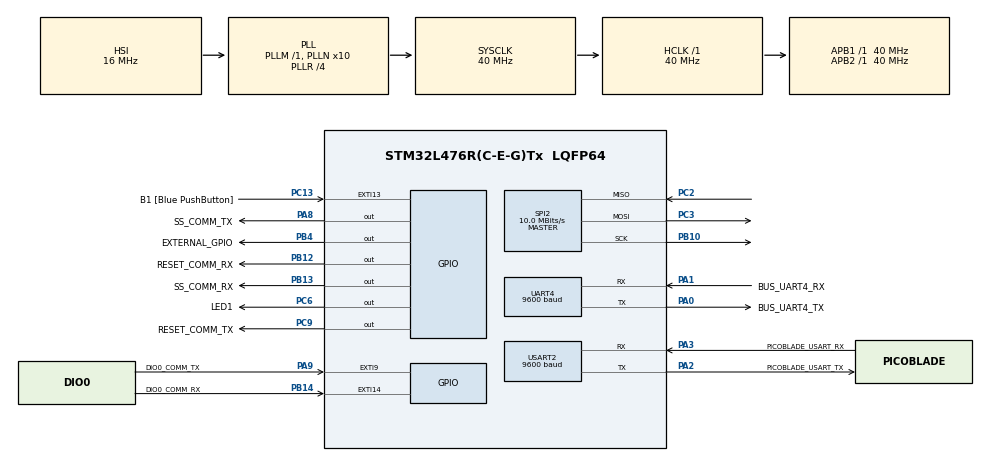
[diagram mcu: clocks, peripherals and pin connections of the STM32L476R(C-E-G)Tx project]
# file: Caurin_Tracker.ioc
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Mcu.Family=STM32L4
Mcu.Name=STM32L476R(C-E-G)Tx
Mcu.Package=LQFP64
NVIC.EXTI15_10_IRQn=true\:0\:0\:false\:false\:true\:true\:true
NVIC.EXTI9_5_IRQn=true\:0\:0\:false\:false\:true\:true\:true
NVIC.PriorityGroup=NVIC_PRIORITYGROUP_4
NVIC.UART4_IRQn=true\:0\:0\:false\:false\:true\:true\:true
PA0.GPIO_Label=BUS_UART4_TX
PA0.Mode=Asynchronous
PA0.Signal=UART4_TX
PA1.GPIO_Label=BUS_UART4_RX
PA1.Mode=Asynchronous
PA1.Signal=UART4_RX
PA13\ (JTMS-SWDIO).GPIO_Label=TMS
PA13\ (JTMS-SWDIO).Mode=Trace_Asynchronous_SW
PA13\ (JTMS-SWDIO).Signal=SYS_JTMS-SWDIO
PA14\ (JTCK-SWCLK).GPIO_Label=TCK
PA14\ (JTCK-SWCLK).Mode=Trace_Asynchronous_SW
PA14\ (JTCK-SWCLK).Signal=SYS_JTCK-SWCLK
PA2.GPIO_Label=PICOBLADE_USART_TX
PA2.GPIO_Mode=GPIO_MODE_AF_PP
PA2.GPIO_PuPd=GPIO_NOPULL
PA2.GPIO_Speed=GPIO_SPEED_FREQ_VERY_HIGH
PA2.Mode=Asynchronous
PA2.Signal=USART2_TX
PA3.GPIO_Label=PICOBLADE_USART_RX
PA3.GPIO_Mode=GPIO_MODE_AF_PP
PA3.GPIO_PuPd=GPIO_NOPULL
PA3.GPIO_Speed=GPIO_SPEED_FREQ_VERY_HIGH
PA3.Mode=Asynchronous
PA3.Signal=USART2_RX
PA8.GPIO_Label=SS_COMM_TX
PA8.PinState=GPIO_PIN_SET
PA8.Signal=GPIO_Output
PA9.GPIO_Label=DIO0_COMM_TX
PA9.Signal=GPXTI9
PB10.Mode=Full_Duplex_Master
PB10.Signal=SPI2_SCK
PB12.GPIO_Label=RESET_COMM_RX
PB12.Signal=GPIO_Output
PB13.GPIO_Label=SS_COMM_RX
PB13.PinState=GPIO_PIN_SET
PB13.Signal=GPIO_Output
PB14.GPIO_Label=DIO0_COMM_RX
PB14.Signal=GPXTI14
PB3\ (JTDO-TRACESWO).GPIO_Label=SWO
PB3\ (JTDO-TRACESWO).Mode=Trace_Asynchronous_SW
PB3\ (JTDO-TRACESWO).Signal=SYS_JTDO-SWO
PB4\ (NJTRST).GPIO_Label=EXTERNAL_GPIO
PB4\ (NJTRST).Signal=GPIO_Output
PC13.GPIO_Label=B1 [Blue PushButton]
PC13.GPIO_ModeDefaultEXTI=GPIO_MODE_IT_FALLING
PC13.GPIO_PuPd=GPIO_NOPULL
PC13.Signal=GPXTI13
PC14-OSC32_IN\ (PC14).Mode=LSE-External-Oscillator
PC14-OSC32_IN\ (PC14).Signal=RCC_OSC32_IN
PC15-OSC32_OUT\ (PC15).Mode=LSE-External-Oscillator
PC15-OSC32_OUT\ (PC15).Signal=RCC_OSC32_OUT
PC2.Mode=Full_Duplex_Master
PC2.Signal=SPI2_MISO
PC3.Mode=Full_Duplex_Master
PC3.Signal=SPI2_MOSI
PC6.GPIO_Label=LED1
PC6.Signal=GPIO_Output
PC9.GPIO_Label=RESET_COMM_TX
PC9.Signal=GPIO_Output
PH0-OSC_IN\ (PH0).Signal=RCC_OSC_IN
PH1-OSC_OUT\ (PH1).Signal=RCC_OSC_OUT
ProjectManager.HeapSize=0x200
ProjectManager.StackSize=0x400
ProjectManager.TargetToolchain=STM32CubeIDE
RCC.ADCFreq_Value=64000000
RCC.AHBFreq_Value=40000000
RCC.APB1Freq_Value=40000000
RCC.APB1TimFreq_Value=40000000
RCC.APB2Freq_Value=40000000
RCC.APB2TimFreq_Value=40000000
RCC.CortexFreq_Value=40000000
RCC.HCLKFreq_Value=40000000
RCC.HSE_VALUE=8000000
RCC.HSI_VALUE=16000000
RCC.MSI_VALUE=4000000
RCC.PLLN=10
RCC.PLLR=RCC_PLLR_DIV4
RCC.PLLSourceVirtual=RCC_PLLSOURCE_HSI
RCC.PREFETCH_ENABLE=1
RCC.SYSCLKFreq_VALUE=40000000
RCC.SYSCLKSource=RCC_SYSCLKSOURCE_PLLCLK
RCC.USBFreq_Value=64000000
RCC.VCOOutputFreq_Value=160000000
SPI2.BaudRatePrescaler=SPI_BAUDRATEPRESCALER_4
SPI2.CalculateBaudRate=10.0 MBits/s
SPI2.DataSize=SPI_DATASIZE_8BIT
SPI2.Direction=SPI_DIRECTION_2LINES
SPI2.Mode=SPI_MODE_MASTER
SPI2.VirtualType=VM_MASTER
UART4.BaudRate=9600
UART4.DMADisableonRxErrorParam=UART_ADVFEATURE_DMA_DISABLEONRXERROR
UART4.SwapParam=UART_ADVFEATURE_SWAP_ENABLE
USART2.BaudRate=9600
USART2.VirtualMode-Asynchronous=VM_ASYNC
board=NUCLEO-L476RG

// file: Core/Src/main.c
/* USER CODE BEGIN Header */
/**
 ******************************************************************************
 * @file           : main.c
 * @brief          : Main program body
 ******************************************************************************
 * @attention
 *
 * Copyright (c) 2022 STMicroelectronics.
 * All rights reserved.
 *
 * This software is licensed under terms that can be found in the LICENSE file
 * in the root directory of this software component.
 * If no LICENSE file comes with this software, it is provided AS-IS.
 *
 ******************************************************************************
 */
/* USER CODE END Header */
#include "main.h"
#include "spi.h"
#include "usart.h"
#include "gpio.h"

/* USER CODE BEGIN Includes */
#include <stdio.h>
#include <stdbool.h>
#include <string.h>
#include <ublox_neo8.h>
#include <STM32_SPI.h>
#include <SX127X.h>

/* USER CODE END Includes */

/* USER CODE BEGIN PTD */

typedef struct {
	// Position
	float latitude, longitude, altitude;
	// GPS Time
	uint8_t seconds, minutes, hours;
	// Packet Identifier
	uint16_t packet_id;
} __attribute__((packed)) telemetry_packet_values_t;

// Union of Packet data as struct and byte array
typedef union {
	telemetry_packet_values_t values;
	uint8_t raw[sizeof(telemetry_packet_values_t)];
} telemetry_packet_t;

/* USER CODE END PTD */

/* USER CODE BEGIN PD */
#define TIMEZONE_OFFSET -3
#define TRANSMISSION_INTERVAL 300000
#define TRANSMISSION_TIMEOUT 2000
#define FIX_SEARCH_TIMEOUT 120000

#define UART4_RX_BUFFER_SIZE 255
#define UART4_RX_MAIN_BUFFER_SIZE 255

/* USER CODE END PD */

/* USER CODE BEGIN PV */

uint8_t rx_buffer[UART4_RX_BUFFER_SIZE];
uint8_t main_buffer[UART4_RX_MAIN_BUFFER_SIZE];
uint16_t global_size = 0;

HAL_StatusTypeDef state_machine_status = HAL_OK;
HAL_StatusTypeDef transmitter_status = HAL_OK;

bool DIO0;
bool DIO1;
bool can_i_transmit = false;
bool fixed = false;

telemetry_packet_values_t telemetry_packet_values;
telemetry_packet_t telemetry_packet;

uint16_t packet_counter = 1;

unsigned long fix_search_time_stamp = 0;

/* USER CODE END PV */

void SystemClock_Config(void);
/* USER CODE BEGIN PFP */
#define PUTCHAR_PROTOTYPE int __io_putchar(int ch)
/* USER CODE END PFP */

/* USER CODE BEGIN 0 */

HAL_StatusTypeDef LoRa_Config(SX127X_t* SX127X) {
	HAL_StatusTypeDef status = HAL_OK;
	uint8_t InitErrorCounter = 0;

	/*
	 * Fdev and BitRate must respect the following formula: 0.5 <= (2*Fdev)/(BitRate) <= 10
	 * Also, Fdev + (BitRate/2) <= 250 kHz   and   600 Hz < Fdev < 200kHz
	 * BitRate must also respect: BitRate < 2*Bandwidth
	 */

	// Basic stuff first:
	SX127X->spi_bus = hspi2;
	SX127X->ss_gpio_port = SS_COMM_TX_GPIO_Port;
	SX127X->ss_pin = SS_COMM_TX_Pin;
	SX127X->reset_gpio_port =RESET_COMM_TX_GPIO_Port;
	SX127X->reset_pin = RESET_COMM_TX_Pin;

	status = SX127X_Reset(SX127X);
	if (status != HAL_OK) InitErrorCounter++;

	status = SX127X_set_op_mode(SX127X, SLEEP);
	if (status != HAL_OK) InitErrorCounter++;

	status = SX127X_set_modulation(SX127X, LORA_Modulation);
	if (status != HAL_OK) InitErrorCounter++;

	status = SX127X_set_frequency(SX127X, 916E6); // remember to put the LoWFrequencyModeOn bit to its correct position
	if (status != HAL_OK) InitErrorCounter++;

	status = SX127X_set_lna_gain(SX127X, LnaGainG1);
	if (status != HAL_OK) InitErrorCounter++;

	status = SX127X_set_lna_boost(SX127X, false);
	if (status != HAL_OK) InitErrorCounter++;

	// TX Config:

	status = SX127X_set_pa_output(SX127X, PA_BOOST_Pin);
	if (status != HAL_OK) InitErrorCounter++;

	status = SX127X_set_tx_power(SX127X, 20);
	if (status != HAL_OK) InitErrorCounter++;

	// Specific Config:

	status = LoRa_set_FIFO_base_address(SX127X, 0x00, 0x00);
	if (status != HAL_OK) InitErrorCounter++;

	status = LoRa_set_signal_bandwidth(SX127X, LoRa_BW_125);
	if (status != HAL_OK) InitErrorCounter++;

	status = LoRa_set_spreading_factor(SX127X, 11);
	if (status != HAL_OK) InitErrorCounter++;

	status = LoRa_set_coding_rate(SX127X, LoRa_CR_4_5);
	if (status != HAL_OK) InitErrorCounter++;

	status = LoRa_set_preamble_lenght(SX127X, 8);
	if (status != HAL_OK) InitErrorCounter++;

	status = LoRa_set_sync_word(SX127X, 'A');
	if (status != HAL_OK) InitErrorCounter++;

	status = LoRa_enable_crc(SX127X);
	if (status != HAL_OK) InitErrorCounter++;

	status = SX127X_set_DIO_mapping(SX127X, 0b01000000, 0b00000000);
	if (status != HAL_OK) InitErrorCounter++;

	status = SX127X_set_op_mode(SX127X, STANDBY);
	if (status != HAL_OK) InitErrorCounter++;

	return status;
}

HAL_StatusTypeDef FSK_Config(SX127X_t* SX127X) {
	HAL_StatusTypeDef status = HAL_OK;
	uint8_t InitErrorCounter = 0;

	/*
	 * Fdev and BitRate must respect the following formula: 0.5 <= (2*Fdev)/(BitRate) <= 10
	 * Also, Fdev + (BitRate/2) <= 250 kHz   and   600 Hz < Fdev < 200kHz
	 * BitRate must also respect: BitRate < 2*Bandwidth
	 */

	// Basic stuff first:
	SX127X->spi_bus = hspi2;
	SX127X->ss_gpio_port = SS_COMM_TX_GPIO_Port;
	SX127X->ss_pin = SS_COMM_TX_Pin;
	SX127X->reset_gpio_port =RESET_COMM_TX_GPIO_Port;
	SX127X->reset_pin = RESET_COMM_TX_Pin;

	status = SX127X_Reset(SX127X);
	if (status != HAL_OK) InitErrorCounter++;

	status = SX127X_set_op_mode(SX127X, SLEEP);
	if (status != HAL_OK) InitErrorCounter++;

	status = SX127X_set_modulation(SX127X, FSK_Modulation);
	if (status != HAL_OK) InitErrorCounter++;

	status = SX127X_set_frequency(SX127X, 915E6); // remember to put the LoWFrequencyModeOn bit to its correct position
	if (status != HAL_OK) InitErrorCounter++;

	// FSK Specific Settings:
	status = FSK_set_freq_deviation(SX127X, 10000, FSK_BITRATE_1_2_KBPS); // Bitrate.BitrateValue
	if (status != HAL_OK) InitErrorCounter++;

	status = FSK_set_bitrate(SX127X, FSK_BITRATE_1_2_KBPS); // Bitrate.RegisterValue
	if (status != HAL_OK) InitErrorCounter++;

	status = FSK_set_preamb_len(SX127X, 20, Polarity_AA);
	if (status != HAL_OK) InitErrorCounter++;

	status = FSK_set_sync_word(SX127X, 4, 0xF0F01234);
	if (status != HAL_OK) InitErrorCounter++;

	status = FSK_set_packet_format(SX127X, VariableLength);
	if (status != HAL_OK) InitErrorCounter++;

	status = FSK_set_data_processing_mode(SX127X, PacketMode);
	if (status != HAL_OK) InitErrorCounter++;

	status = FSK_set_payload_length(SX127X, 64); // This represents different things in different modes. In this case: Max RX length. More on the .h file.
	if (status != HAL_OK) InitErrorCounter++;

	status = FSK_enable_crc(SX127X);
	if (status != HAL_OK) InitErrorCounter++;

	status = FSK_set_crc_autoclear(SX127X, false);
	if (status != HAL_OK) InitErrorCounter++;

	status = FSK_set_encoding(SX127X, None);
	if (status != HAL_OK) InitErrorCounter++;

	status = FSK_set_data_shaping(SX127X, NoFiltering);
	if (status != HAL_OK) InitErrorCounter++;

	status = FSK_set_pa_ramp_time(SX127X, PaRampTime_40_us);
	if (status != HAL_OK) InitErrorCounter++;

	status = FSK_set_auto_restart_RX(SX127X, AutorestartRX_Off);
	if (status != HAL_OK) InitErrorCounter++;

	// RX config:

	status = FSK_set_rx_bandwidth(SX127X, FSK_BW_31_3_KHZ);
	if (status != HAL_OK) InitErrorCounter++;

	status = FSK_set_afc_bandwidth(SX127X, FSK_BW_31_3_KHZ);
	if (status != HAL_OK) InitErrorCounter++;

	status = FSK_enable_preamble_detector(SX127X, 2, 7);
	if (status != HAL_OK) InitErrorCounter++;

	status = SX127X_set_lna_gain(SX127X, LnaGainG1);
	if (status != HAL_OK) InitErrorCounter++;

	status = SX127X_set_lna_boost(SX127X, false);
	if (status != HAL_OK) InitErrorCounter++;

	status = FSK_set_rssi_smoothing(SX127X, RssiSmoothing_8_Samples);
	if (status != HAL_OK) InitErrorCounter++;

	// TX Config:

	status = SX127X_set_pa_output(SX127X, PA_BOOST_Pin);
	if (status != HAL_OK) InitErrorCounter++;

	status = SX127X_set_tx_power(SX127X, 20);
	if (status != HAL_OK) InitErrorCounter++;

	status = SX127X_set_DIO_mapping(SX127X, 0b00001000, 0b11110001);
	if (status != HAL_OK) InitErrorCounter++;

	status = SX127X_set_op_mode(SX127X, STANDBY);
	if (status != HAL_OK) InitErrorCounter++;

	return status;
}

HAL_StatusTypeDef get_gps_data(ublox_gps_t gps, ublox_pvt_t *pvt, telemetry_packet_t *packet){
	telemetry_packet_values_t packet_values;
	uint8_t attempts = 0;
	printf("\nCollecting GPS data.");

	while(ublox_get(gps, pvt) && attempts < 5){
		printf("\nFailed to collect GPS packet :(. %d out of 5 attempts.", attempts++);
		HAL_Delay(1000);
	}

	if (attempts < 5) { // Check for errors
		packet_values.latitude = (float) pvt->lat / 1e7;
		packet_values.longitude = (float) pvt->lng / 1e7;
		packet_values.altitude = (float) pvt->hMSL / 1e3;
		packet_values.hours = pvt->hour;
		packet_values.minutes = pvt->minute;
		packet_values.seconds = pvt->second;
		packet->values = packet_values;

		printf("\nCollected data:");
		printf("\nCoordiates (Lat,Long): %f,%f",packet_values.latitude, packet_values.longitude);
		printf("\nAltitude: %f", packet_values.altitude);
		printf("\nCurrent Time: ");
		if(((packet_values.hours + TIMEZONE_OFFSET + 24) % 24 ) < 10) printf("0");
		printf("%d:",(packet_values.hours + TIMEZONE_OFFSET + 24) % 24 );
		if(packet_values.minutes < 10) printf("0");
		printf("%d:",packet_values.minutes);
		if(packet_values.seconds < 10) printf("0");
		printf("%d\n",packet_values.seconds);
		return HAL_OK;

	}else{
		printf("\nFailed to collect GPS packet for real :(");
		return HAL_ERROR;
	}
}

HAL_StatusTypeDef telemetry_transmit(SX127X_t *SX127X, telemetry_packet_t packet){
	HAL_StatusTypeDef status = HAL_OK;
	unsigned long time_stamp = HAL_GetTick();

	status = LoRa_Transmit(SX127X, packet.raw, sizeof(packet.raw));
	if(status != HAL_OK) return HAL_ERROR;

	status = HAL_BUSY;

	while(!DIO0){ // wait for the radio to finish transmitting. Yes I'm aware this is polling and shit :)
		if(HAL_GetTick() - time_stamp > TRANSMISSION_TIMEOUT){
			status = HAL_TIMEOUT;
			break;
		}

		HAL_Delay(10);
	}

	if(DIO0 && status == HAL_BUSY) {
		printf("\nPacket has been sent successfully! :)");
		DIO0 = false;
		return HAL_OK;
	}else{
		printf("\nRadio took way too long, something went wrong :(");
		printf("\nReseting and reconfiguring the radio for the next time around.");
		SX127X_Reset(SX127X);
		if(LoRa_Config(SX127X) == HAL_OK) printf( "\nAll configurations succeeded :)\n");
		else printf( "\nErrors were found during configuration. Fuck.\n");
		return HAL_ERROR;
	}
}

/* USER CODE END 0 */

int main(void)
{

  /* MCU Configuration--------------------------------------------------------*/

  /* Reset of all peripherals, Initializes the Flash interface and the Systick. */
  HAL_Init();

  /* Configure the system clock */
  SystemClock_Config();

  /* Initialize all configured peripherals */
  MX_GPIO_Init();
  MX_USART2_UART_Init();
  MX_SPI2_Init();
  MX_UART4_Init();
  /* USER CODE BEGIN 2 */

	//  HAL_UARTEx_ReceiveToIdle_DMA(huart, pData, Size)

	printf("\n\n ------------------------------------------------------\r\n");
	printf(" ----- Caurin Tracker - Zenith GPS Tracker v.1.0  -----\r\n");
	printf(" ------------------------------------------------------\r\n\n\n");

	printf("Configuring GPS Module.\r\n");
	uart_connection_t conn = { .uart = &huart4 };
	ublox_gps_t gps = { .conn = conn };
	ublox_pvt_t pvt;
	ublox_init(gps);
	HAL_Delay(3000);

	MX_UART4_Init();

	ublox_nav_status_t gps_status;

	ublox_power_mode_setup(gps, BALANCED, 0, 0);

	printf("Configuring Radio (LoRa).\r\n");
	SX127X_t SX127X;
	if(LoRa_Config(&SX127X) == HAL_OK) printf( "\nAll configurations succeeded :)\r\n");
	else printf( "\nErrors were found during configurations. Fuck.\r\n");

	printf("\nWaiting for GPS fix.\r\n");

  /* USER CODE END 2 */

  /* Infinite loop */
	while (1)
	{

    /* USER CODE BEGIN 3 */

		while(1){

			//MX_UART4_Init();
			fixed = ublox_check_fix(gps, &gps_status);

			HAL_Delay(1000);
			printf(".\r\n");
			printf("Time: %d\r\n", gps_status.time);
			printf("Fix type: %d\r\n", gps_status.fixType);
			printf("Flags: %d\r\n", gps_status.flags);
			printf("FixStat: %d\r\n", gps_status.fixStat);
			printf("Flags2: %d\r\n", gps_status.flags2);
			printf("ttff: %d\r\n", gps_status.ttff);
			printf("msss: %d\r\n\n", gps_status.msss);

			if(HAL_GetTick() - fix_search_time_stamp < FIX_SEARCH_TIMEOUT && fixed == true){
				state_machine_status = HAL_OK;
				break;
			} else if(HAL_GetTick() - fix_search_time_stamp > FIX_SEARCH_TIMEOUT){
				printf("Fix search timeout. Sleeping for one minute.\r\n");
				state_machine_status = HAL_TIMEOUT;
				ublox_power_management_request(gps, 60000); // Sleep GPS for 60 seconds
				break;
			}else{
				state_machine_status = HAL_OK;
			}
		}

		if(state_machine_status != HAL_TIMEOUT){ // GPS data was acquired successfully, lets transmit
			printf("\nGPS fixed! Putting the GPS to sleep and transmitting packet six times.\r\n");
			get_gps_data(gps, &pvt, &telemetry_packet);
			ublox_power_management_request(gps, 60000); // Sleep GPS for 60 seconds
			telemetry_packet.values.packet_id = packet_counter ++;
			for(uint8_t i = 0; i < 6; i++){
				HAL_GPIO_WritePin(LED1_GPIO_Port, LED1_Pin, GPIO_PIN_SET);
				HAL_GPIO_WritePin(EXTERNAL_GPIO_GPIO_Port, EXTERNAL_GPIO_Pin, GPIO_PIN_SET);
				transmitter_status = telemetry_transmit(&SX127X, telemetry_packet);
				if(transmitter_status == HAL_OK) printf(" Packet number %d sent!\r\n", packet_counter);
				else printf("Error transmitting message.\r\n");
				HAL_GPIO_WritePin(LED1_GPIO_Port, LED1_Pin, GPIO_PIN_RESET);
				HAL_GPIO_WritePin(EXTERNAL_GPIO_GPIO_Port, EXTERNAL_GPIO_Pin, GPIO_PIN_RESET);
				HAL_Delay(14000);
			}

			HAL_Delay(1000);
			printf("\nBeginning new fix search.\r\n");
			ublox_init(gps);
			HAL_Delay(4000);
			MX_UART4_Init();

		}else{
			HAL_Delay(61000); // Wait for the next search session
			printf("\nBeginning new fix search.\r\n");
			ublox_init(gps);
			HAL_Delay(4000);
			MX_UART4_Init();
		}

		fix_search_time_stamp = HAL_GetTick();

	}
  /* USER CODE END 3 */
}

void SystemClock_Config(void)
{
  RCC_OscInitTypeDef RCC_OscInitStruct = {0};
  RCC_ClkInitTypeDef RCC_ClkInitStruct = {0};

  /** Configure the main internal regulator output voltage
  */
  if (HAL_PWREx_ControlVoltageScaling(PWR_REGULATOR_VOLTAGE_SCALE1) != HAL_OK)
  {
    Error_Handler();
  }
  /** Initializes the RCC Oscillators according to the specified parameters
  * in the RCC_OscInitTypeDef structure.
  */
  RCC_OscInitStruct.OscillatorType = RCC_OSCILLATORTYPE_HSI;
  RCC_OscInitStruct.HSIState = RCC_HSI_ON;
  RCC_OscInitStruct.HSICalibrationValue = RCC_HSICALIBRATION_DEFAULT;
  RCC_OscInitStruct.PLL.PLLState = RCC_PLL_ON;
  RCC_OscInitStruct.PLL.PLLSource = RCC_PLLSOURCE_HSI;
  RCC_OscInitStruct.PLL.PLLM = 1;
  RCC_OscInitStruct.PLL.PLLN = 10;
  RCC_OscInitStruct.PLL.PLLP = RCC_PLLP_DIV7;
  RCC_OscInitStruct.PLL.PLLQ = RCC_PLLQ_DIV2;
  RCC_OscInitStruct.PLL.PLLR = RCC_PLLR_DIV4;
  if (HAL_RCC_OscConfig(&RCC_OscInitStruct) != HAL_OK)
  {
    Error_Handler();
  }
  /** Initializes the CPU, AHB and APB buses clocks
  */
  RCC_ClkInitStruct.ClockType = RCC_CLOCKTYPE_HCLK|RCC_CLOCKTYPE_SYSCLK
                              |RCC_CLOCKTYPE_PCLK1|RCC_CLOCKTYPE_PCLK2;
  RCC_ClkInitStruct.SYSCLKSource = RCC_SYSCLKSOURCE_PLLCLK;
  RCC_ClkInitStruct.AHBCLKDivider = RCC_SYSCLK_DIV1;
  RCC_ClkInitStruct.APB1CLKDivider = RCC_HCLK_DIV1;
  RCC_ClkInitStruct.APB2CLKDivider = RCC_HCLK_DIV1;

  if (HAL_RCC_ClockConfig(&RCC_ClkInitStruct, FLASH_LATENCY_2) != HAL_OK)
  {
    Error_Handler();
  }
}

/* USER CODE BEGIN 4 */

/**
 * @brief  Retargets the C library printf function to the USART.
 * @param  None
 * @retval None
 */
PUTCHAR_PROTOTYPE
{
	/* Place your implementation of fputc here */
	/* e.g. write a character to the USART1 and Loop until the end of transmission */
	HAL_UART_Transmit(&huart2, (uint8_t *)&ch, 1, 0xFFFF);

	return ch;
}

/* USER CODE END 4 */

void Error_Handler(void)
{
	__disable_irq();
	while (1)
	{
	}
}
